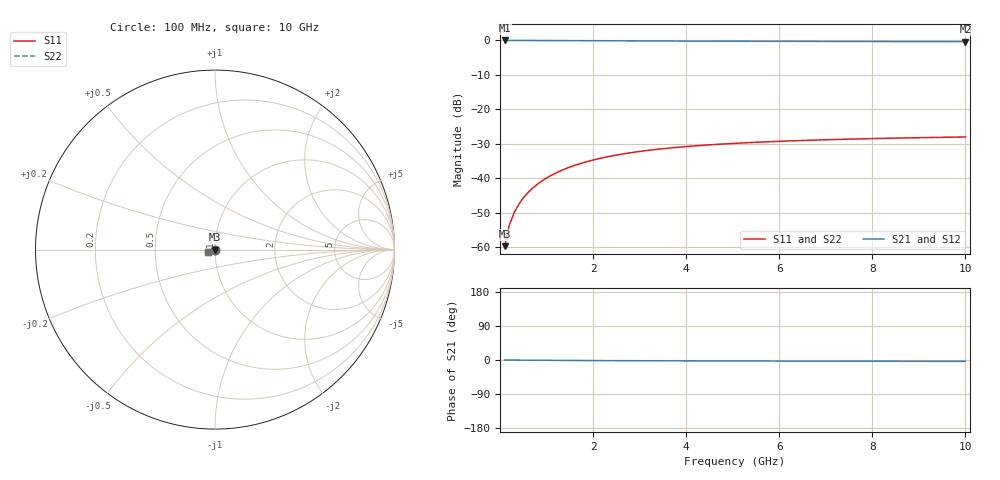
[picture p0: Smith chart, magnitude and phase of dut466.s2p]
! Touchstone file exported from HFSS 2024.1.0
!  File:  C:/UserFiles/LocalFiles/RDL_TSV_Batchsim/temp_TSV1_466_1779698004.aedt
!  Generated:  04:39:15 PM May 25, 2026
!  Design:  TSV1
!  Project:  temp_TSV1_466_1779698004
!  Setup:  Setup1
!  Solution:  Sweep
! Variables:
!  dtsv = 12.36um
!  hbump = 3um
!  htsv = 52.81um
!  lrdl = 252.1521522um
!  p = 40
!  p1 = 42.35um
!  t = 500um
!  trdl = 3um
!  wrdl = 24.89489489um
# GHz S MA R 50.000000
! Terminal data exported
! Port[1] = TSV22_T1
! Port[2] = TSV22_T2
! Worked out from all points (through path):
!   100 points, 100 MHz to 10 GHz, reference 50 ohm
!   highest |S21| = 0.00 dB at 100 MHz (marker M1); lowest = -0.3 dB at 10 GHz (marker M2)
!   lowest |S11| = -59.7 dB at 100 MHz (marker M3), VSWR 1.00, Z = 50 - j0.103 ohm
!   |S11| at or under -10 dB: start of sweep to end of sweep
!   |S22| runs from -59.7 to -28.0 dB; largest |S21 - S12| = 2.5e-15
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0.1  0.001034 -87.3  0.9999 -0.1  0.9999 -0.1  0.001034 -87.3
! Gamma 0 0 0 0
! Port Impedance 50 0 50 0
0.2  0.002072 -90.6  0.9998 -0.2  0.9998 -0.2  0.002072 -90.6
0.3  0.00311 -92.8  0.9997 -0.3  0.9997 -0.3  0.00311 -92.8
0.4  0.004142 -94.7  0.9995 -0.4  0.9995 -0.4  0.004142 -94.7
0.5  0.005164 -96.4  0.9992 -0.4  0.9992 -0.4  0.005164 -96.4
0.6  0.006176 -98.0  0.9989 -0.5  0.9989 -0.5  0.006176 -98.0
0.7  0.007174 -99.6  0.9986 -0.6  0.9986 -0.6  0.007174 -99.6
0.8  0.008158 -101.1  0.9982 -0.7  0.9982 -0.7  0.008158 -101.1
0.9  0.009125 -102.6  0.9978 -0.8  0.9978 -0.8  0.009125 -102.6
1.1  0.011 -105.5  0.9968 -0.9  0.9968 -0.9  0.011 -105.5
1.4  0.01367 -109.5  0.9951 -1.1  0.9951 -1.1  0.01367 -109.5
1.6  0.01533 -112.1  0.9939 -1.3  0.9939 -1.3  0.01533 -112.1
1.8  0.01691 -114.6  0.9927 -1.4  0.9927 -1.4  0.01691 -114.6
2.1  0.01909 -118.0  0.9907 -1.5  0.9907 -1.5  0.01909 -118.0
2.5  0.0217 -122.2  0.9882 -1.7  0.9882 -1.7  0.0217 -122.2
2.9  0.02397 -126.0  0.9857 -1.9  0.9857 -1.9  0.02397 -126.0
3.4  0.02641 -130.2  0.9828 -2.1  0.9828 -2.1  0.02641 -130.2
4.2  0.02956 -135.8  0.9786 -2.3  0.9786 -2.3  0.02956 -135.8
5.1  0.03228 -140.9  0.9747 -2.6  0.9747 -2.6  0.03228 -140.9
6.7  0.0357 -147.8  0.9695 -2.9  0.9695 -2.9  0.0357 -147.8
8.4  0.03813 -153.2  0.9656 -3.3  0.9656 -3.3  0.03813 -153.2
10  0.03973 -157.2  0.9629 -3.6  0.9629 -3.6  0.03973 -157.2
